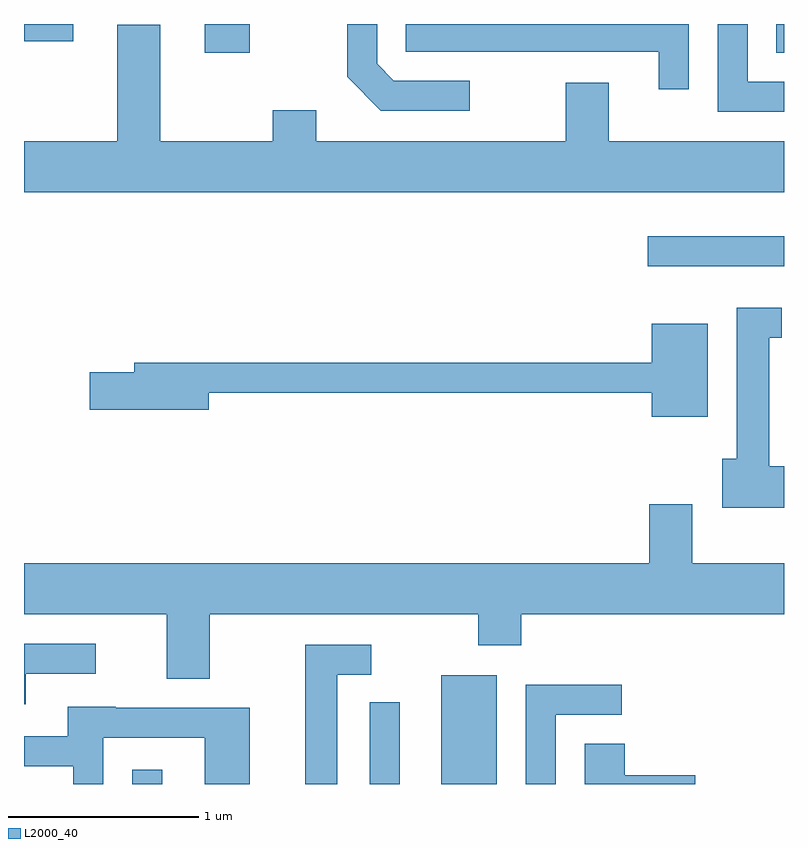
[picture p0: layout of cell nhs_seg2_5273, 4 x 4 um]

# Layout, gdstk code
import gdstk
lib = gdstk.Library(unit=1e-6, precision=1e-09)
def R(c, l, rs):  # rectangles x0, y0, x1, y1
    for r in rs: c.add(gdstk.rectangle(r[:2], r[2:], *l))
def P(c, l, *ps):  # polygons
    for p in ps: c.add(gdstk.Polygon(p, *l))
L2000_40 = (2000, 40)

nhs_seg2_5273 = lib.new_cell('nhs_seg2_5273')
R(nhs_seg2_5273, L2000_40, [(340.181,1111.802,340.339,1111.878), (341.431,1111.802,341.589,1112.233), (341.806,1111.802,342.099,1112.374), (342.893,1114.526,343.611,1114.684), (340.561,1115.651,340.798,1115.802), (343.571,1115.651,343.611,1115.802), (339.611,1115.711,339.869,1115.802)])
P(nhs_seg2_5273, L2000_40, [(343.109,1115.802),(341.621,1115.802),(341.621,1115.656),(342.951,1115.656),(342.951,1115.458),(343.109,1115.458)],
  [(341.958,1115.504),(341.557,1115.504),(341.469,1115.592),(341.469,1115.802),(341.311,1115.802),(341.311,1115.524),(341.489,1115.346),(341.958,1115.346)],
  [(343.611,1115.499),(343.419,1115.499),(343.419,1115.802),(343.261,1115.802),(343.261,1115.341),(343.611,1115.341)],
  [(343.611,1115.184),(342.689,1115.184),(342.689,1115.494),(342.461,1115.494),(342.461,1115.184),(341.149,1115.184),(341.149,1115.349),(340.921,1115.349),(340.921,1115.184),(340.329,1115.184),(340.329,1115.799),(340.101,1115.799),(340.101,1115.184),(339.611,1115.184),(339.611,1114.916),(343.611,1114.916)],
  [(343.611,1113.474),(343.534,1113.474),(343.534,1114.151),(343.598,1114.151),(343.598,1114.309),(343.361,1114.309),(343.361,1113.514),(343.286,1113.514),(343.286,1113.256),(343.611,1113.256)],
  [(343.209,1114.224),(342.916,1114.224),(342.916,1114.019),(340.191,1114.019),(340.191,1113.969),(339.956,1113.969),(339.956,1113.771),(340.584,1113.771),(340.584,1113.861),(342.916,1113.861),(342.916,1113.736),(343.209,1113.736)],
  [(340.589,1112.696),(342.001,1112.696),(342.001,1112.531),(342.229,1112.531),(342.229,1112.696),(343.611,1112.696),(343.611,1112.964),(343.129,1112.964),(343.129,1113.274),(342.901,1113.274),(342.901,1112.964),(339.611,1112.964),(339.611,1112.696),(340.361,1112.696),(340.361,1112.356),(340.589,1112.356)],
  [(339.619,1112.381),(339.988,1112.381),(339.988,1112.539),(339.611,1112.539),(339.611,1112.221),(339.619,1112.221)],
  [(341.259,1112.376),(341.438,1112.376),(341.438,1112.534),(341.091,1112.534),(341.091,1111.802),(341.259,1111.802)],
  [(342.409,1112.166),(342.758,1112.166),(342.758,1112.324),(342.251,1112.324),(342.251,1111.802),(342.409,1111.802)],
  [(340.029,1112.046),(340.561,1112.046),(340.561,1111.802),(340.799,1111.802),(340.799,1112.204),(340.095,1112.204),(340.095,1112.209),(339.841,1112.209),(339.841,1112.054),(339.611,1112.054),(339.611,1111.896),(339.871,1111.896),(339.871,1111.802),(340.029,1111.802)],
  [(343.144,1111.849),(342.774,1111.849),(342.774,1112.014),(342.561,1112.014),(342.561,1111.802),(343.144,1111.802)])

lib.write_gds('nhs_seg2_5273.gds')
